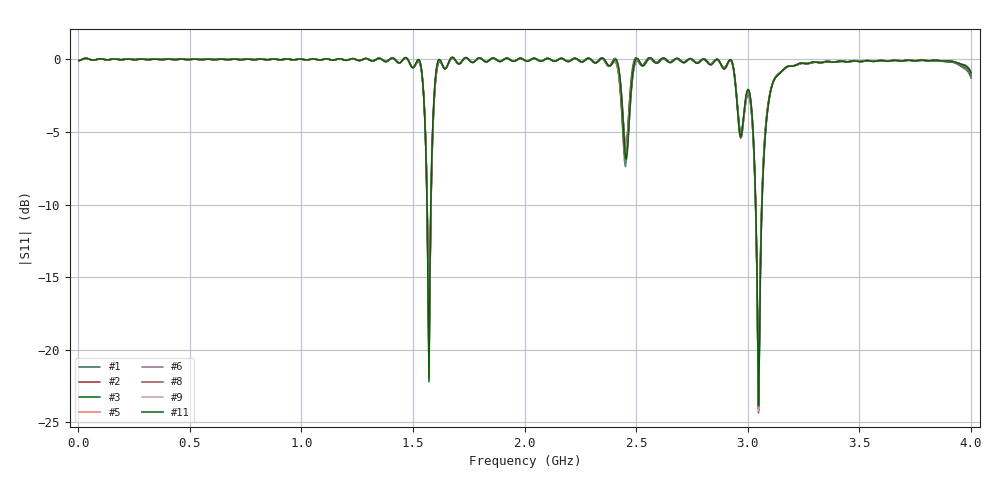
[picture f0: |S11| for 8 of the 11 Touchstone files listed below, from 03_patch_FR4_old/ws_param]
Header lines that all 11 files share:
! TOUCHSTONE file generated by CST MICROWAVE STUDIO
! Project name: AppElm_antenne_patch_FR4.cst
! Header version: 2018
! Port assignment regex: !\s*Touchstone port\s*([0-9]+)\s*=\s*(CST MWS port|CST DS port)\s*([0-9]+|Zmin|Zmax)\s*\(\"(.*)\"\)(\s*mode\s*([0-9]+))?.*
! Touchstone port assignment:
! Touchstone port 1 = CST MWS port 1 ("")
# GHz S MA R 50
Fixed: L = 45, W = 58.5, e = 0.035, h = 1.6, lambda = 0.190476, ls = 120, w0 = 1.6, w1 = 0.533333, y0 = 20, y1 = 23.81
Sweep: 4 MHz to 4 GHz
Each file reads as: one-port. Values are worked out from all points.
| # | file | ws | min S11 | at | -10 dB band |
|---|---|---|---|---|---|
| 1 | AppElm_antenne_patch_FR4_1.s1p | 90 | -23.8 dB | 3.048 GHz | 28.05 MHz wide |
| 2 | AppElm_antenne_patch_FR4_2.s1p | 96 | -23.5 dB | 3.048 GHz | 27.81 MHz wide |
| 3 | AppElm_antenne_patch_FR4_3.s1p | 102 | -23.5 dB | 3.048 GHz | 27.66 MHz wide |
| 4 | AppElm_antenne_patch_FR4_4.s1p | 108 | -23.7 dB | 3.048 GHz | 27.74 MHz wide |
| 5 | AppElm_antenne_patch_FR4_5.s1p | 114 | -24.1 dB | 3.048 GHz | 27.88 MHz wide |
| 6 | AppElm_antenne_patch_FR4_6.s1p | 120 | -24.3 dB | 3.048 GHz | 28.03 MHz wide |
| 7 | AppElm_antenne_patch_FR4_7.s1p | 126 | -24.4 dB | 3.048 GHz | 28.09 MHz wide |
| 8 | AppElm_antenne_patch_FR4_8.s1p | 132 | -24.4 dB | 3.048 GHz | 28.17 MHz wide |
| 9 | AppElm_antenne_patch_FR4_9.s1p | 138 | -24.2 dB | 3.048 GHz | 28.2 MHz wide |
| 10 | AppElm_antenne_patch_FR4_10.s1p | 144 | -24.0 dB | 3.048 GHz | 28.19 MHz wide |
| 11 | AppElm_antenne_patch_FR4_11.s1p | 150 | -23.9 dB | 3.048 GHz | 28.2 MHz wide |
